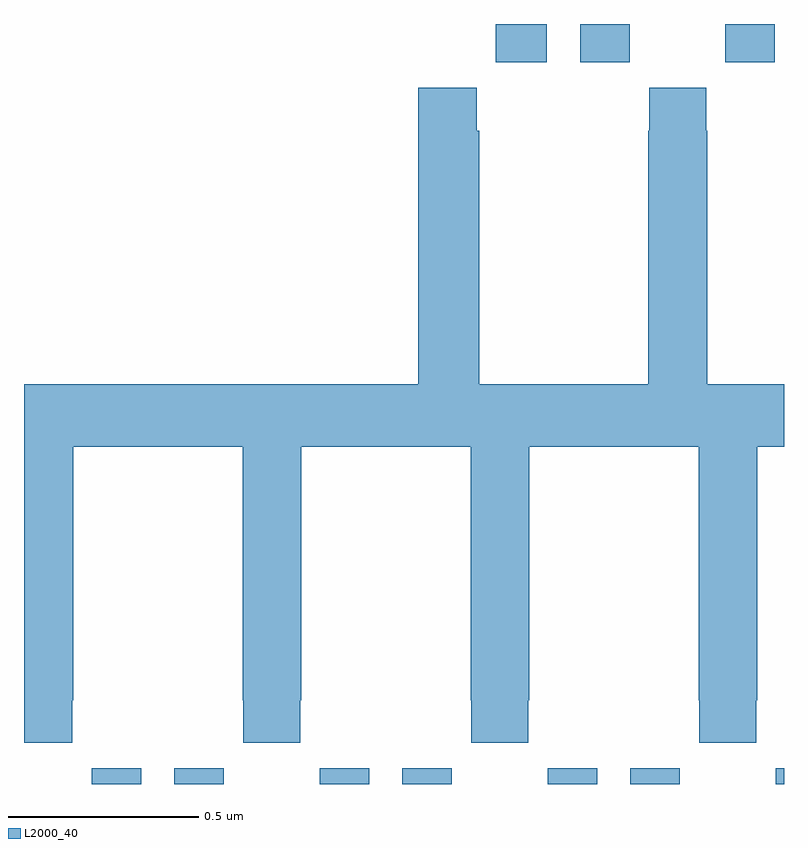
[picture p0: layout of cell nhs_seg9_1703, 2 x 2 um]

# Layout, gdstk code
import gdstk
lib = gdstk.Library(unit=1e-6, precision=1e-09)
def R(c, l, rs):  # rectangles x0, y0, x1, y1
    for r in rs: c.add(gdstk.rectangle(r[:2], r[2:], *l))
def P(c, l, *ps):  # polygons
    for p in ps: c.add(gdstk.Polygon(p, *l))
L2000_40 = (2000, 40)

nhs_seg9_1703 = lib.new_cell('nhs_seg9_1703')
R(nhs_seg9_1703, L2000_40, [(131.178,1227.5,131.308,1227.541), (131.396,1227.5,131.526,1227.541), (131.778,1227.5,131.908,1227.541), (131.996,1227.5,132.126,1227.541), (132.378,1227.5,132.508,1227.541), (132.596,1227.5,132.726,1227.541), (132.978,1227.5,133,1227.541), (132.242,1229.4,132.376,1229.5), (132.464,1229.4,132.594,1229.5), (132.846,1229.4,132.976,1229.5)])
P(nhs_seg9_1703, L2000_40, [(131.127,1227.721),(131.13,1227.721),(131.13,1228.388),(131.575,1228.388),(131.575,1227.721),(131.577,1227.721),(131.577,1227.609),(131.727,1227.609),(131.727,1227.721),(131.73,1227.721),(131.73,1228.388),(132.175,1228.388),(132.175,1227.721),(132.177,1227.721),(132.177,1227.609),(132.327,1227.609),(132.327,1227.721),(132.33,1227.721),(132.33,1228.388),(132.775,1228.388),(132.775,1227.721),(132.777,1227.721),(132.777,1227.609),(132.927,1227.609),(132.927,1227.721),(132.93,1227.721),(132.93,1228.388),(133,1228.388),(133,1228.552),(132.798,1228.552),(132.798,1229.219),(132.795,1229.219),(132.795,1229.332),(132.645,1229.332),(132.645,1229.219),(132.643,1229.219),(132.643,1228.552),(132.198,1228.552),(132.198,1229.219),(132.191,1229.219),(132.191,1229.332),(132.038,1229.332),(132.038,1228.552),(131,1228.552),(131,1227.609),(131.127,1227.609)])

lib.write_gds('nhs_seg9_1703.gds')
